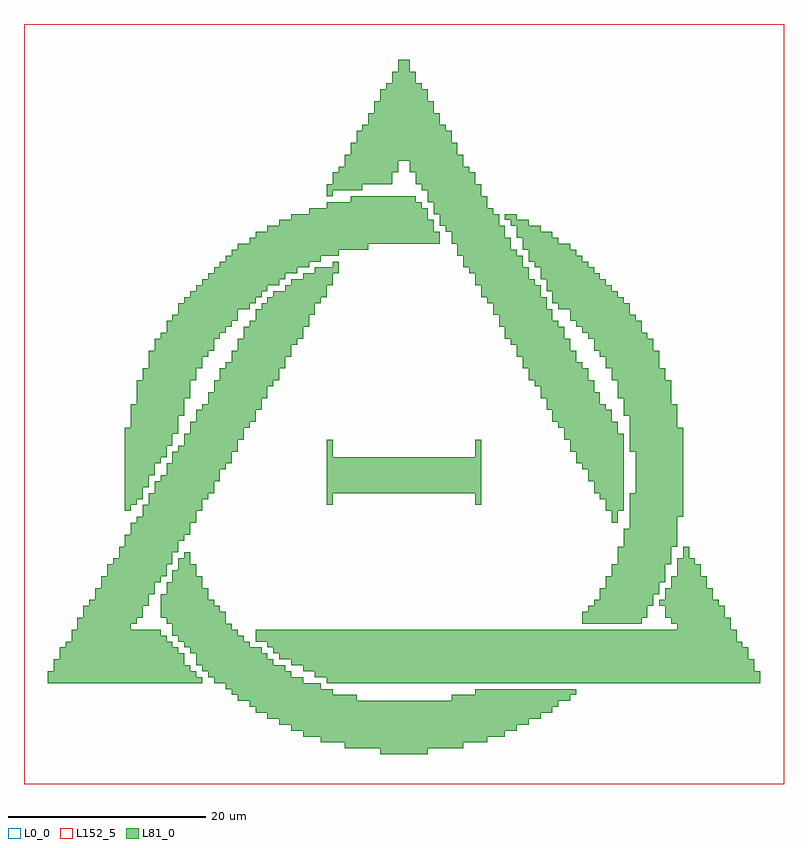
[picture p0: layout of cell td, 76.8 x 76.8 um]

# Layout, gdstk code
import gdstk
lib = gdstk.Library(unit=1e-6, precision=1e-09)
def R(c, l, rs):  # rectangles x0, y0, x1, y1
    for r in rs: c.add(gdstk.rectangle(r[:2], r[2:], *l))
def A(c, l, x, y, w, h, nx, ny, dx, dy):  # array of equal rectangles
    R(c, l, [(x+i*dx, y+j*dy, x+i*dx+w, y+j*dy+h) for i in range(nx) for j in range(ny)])
L0_0 = (0, 0)
L81_0 = (81, 0)
L152_5 = (152, 5)

c_td = lib.new_cell('td')
R(c_td, L0_0, [(0,0,76.8,76.8)])
A(c_td, L81_0, 36, 3, 0.6, 0.6, 8, 2, 0.6, 66)
A(c_td, L81_0, 32.4, 3.6, 0.6, 0.6, 20, 2, 0.6, 59.4)
A(c_td, L81_0, 30, 4.2, 0.6, 0.6, 28, 1, 0.6, 0)
A(c_td, L81_0, 28.2, 4.8, 0.6, 0.6, 34, 1, 0.6, 0)
A(c_td, L81_0, 27, 5.4, 0.6, 0.6, 38, 1, 0.6, 0)
A(c_td, L81_0, 25.8, 6, 0.6, 0.6, 42, 1, 0.6, 0)
A(c_td, L81_0, 24.6, 6.6, 0.6, 0.6, 46, 1, 0.6, 0)
A(c_td, L81_0, 23.4, 7.2, 0.6, 0.6, 50, 1, 0.6, 0)
A(c_td, L81_0, 22.8, 7.8, 0.6, 0.6, 52, 1, 0.6, 0)
A(c_td, L81_0, 21.6, 8.4, 0.6, 0.6, 20, 1, 0.6, 0)
A(c_td, L81_0, 43.2, 8.4, 0.6, 0.6, 20, 1, 0.6, 0)
A(c_td, L81_0, 21, 9, 0.6, 0.6, 17, 1, 0.6, 0)
A(c_td, L81_0, 45.6, 9, 0.6, 0.6, 17, 1, 0.6, 0)
A(c_td, L81_0, 20.4, 9.6, 0.6, 0.6, 16, 2, 0.6, 43.2)
A(c_td, L81_0, 2.4, 10.2, 0.6, 0.6, 26, 1, 0.6, 0)
A(c_td, L81_0, 19.2, 10.2, 0.6, 0.6, 15, 1, 0.6, 0)
A(c_td, L81_0, 30.6, 10.2, 0.6, 0.6, 73, 1, 0.6, 0)
A(c_td, L81_0, 2.4, 10.8, 0.6, 0.6, 25, 1, 0.6, 0)
A(c_td, L81_0, 18.6, 10.8, 0.6, 0.6, 14, 1, 0.6, 0)
A(c_td, L81_0, 29.4, 10.8, 0.6, 0.6, 75, 1, 0.6, 0)
A(c_td, L81_0, 3, 11.4, 0.6, 0.6, 23, 1, 0.6, 0)
A(c_td, L81_0, 18, 11.4, 0.6, 0.6, 14, 1, 0.6, 0)
A(c_td, L81_0, 28.2, 11.4, 0.6, 0.6, 76, 1, 0.6, 0)
A(c_td, L81_0, 3, 12, 0.6, 0.6, 22, 1, 0.6, 0)
A(c_td, L81_0, 17.4, 12, 0.6, 0.6, 13, 1, 0.6, 0)
A(c_td, L81_0, 27, 12, 0.6, 0.6, 78, 1, 0.6, 0)
A(c_td, L81_0, 3.6, 12.6, 0.6, 0.6, 21, 1, 0.6, 0)
A(c_td, L81_0, 17.4, 12.6, 0.6, 0.6, 12, 2, 0.6, 37.2)
A(c_td, L81_0, 25.8, 12.6, 0.6, 0.6, 79, 1, 0.6, 0)
A(c_td, L81_0, 3.6, 13.2, 0.6, 0.6, 20, 1, 0.6, 0)
A(c_td, L81_0, 16.8, 13.2, 0.6, 0.6, 12, 2, 0.6, 36)
A(c_td, L81_0, 25.2, 13.2, 0.6, 0.6, 80, 1, 0.6, 0)
A(c_td, L81_0, 4.2, 13.8, 0.6, 0.6, 18, 1, 0.6, 0)
A(c_td, L81_0, 16.2, 13.8, 0.6, 0.6, 11, 1, 0.6, 0)
A(c_td, L81_0, 24.6, 13.8, 0.6, 0.6, 80, 1, 0.6, 0)
A(c_td, L81_0, 4.8, 14.4, 0.6, 0.6, 16, 1, 0.6, 0)
A(c_td, L81_0, 15.6, 14.4, 0.6, 0.6, 11, 1, 0.6, 0)
A(c_td, L81_0, 23.4, 14.4, 0.6, 0.6, 81, 2, 0.6, 0.6)
A(c_td, L81_0, 4.8, 15, 0.6, 0.6, 15, 1, 0.6, 0)
A(c_td, L81_0, 15, 15, 0.6, 0.6, 11, 2, 0.6, 31.8)
A(c_td, L81_0, 5.4, 15.6, 0.6, 0.6, 9, 1, 0.6, 0)
A(c_td, L81_0, 15, 15.6, 0.6, 0.6, 10, 2, 0.6, 16.8)
A(c_td, L81_0, 66, 15.6, 0.6, 0.6, 9, 1, 0.6, 0)
A(c_td, L81_0, 5.4, 16.2, 0.6, 0.6, 10, 1, 0.6, 0)
A(c_td, L81_0, 14.4, 16.2, 0.6, 0.6, 10, 2, 0.6, 15.6)
A(c_td, L81_0, 56.4, 16.2, 0.6, 0.6, 10, 2, 0.6, 29.4)
A(c_td, L81_0, 65.4, 16.2, 0.6, 0.6, 10, 1, 0.6, 0)
A(c_td, L81_0, 6, 16.8, 0.6, 0.6, 10, 2, 0.6, 0.6)
A(c_td, L81_0, 13.8, 16.8, 0.6, 0.6, 11, 1, 0.6, 0)
A(c_td, L81_0, 56.4, 16.8, 0.6, 0.6, 11, 1, 0.6, 0)
A(c_td, L81_0, 64.8, 16.8, 0.6, 0.6, 10, 2, 0.6, 0.6)
A(c_td, L81_0, 13.8, 17.4, 0.6, 0.6, 10, 2, 0.6, 13.2)
A(c_td, L81_0, 57, 17.4, 0.6, 0.6, 10, 2, 0.6, 27.6)
A(c_td, L81_0, 6.6, 18, 0.6, 0.6, 10, 1, 0.6, 0)
A(c_td, L81_0, 13.8, 18, 0.6, 0.6, 9, 1, 0.6, 0)
A(c_td, L81_0, 57.6, 18, 0.6, 0.6, 10, 2, 0.6, 25.8)
A(c_td, L81_0, 64.2, 18, 0.6, 0.6, 10, 1, 0.6, 0)
A(c_td, L81_0, 7.2, 18.6, 0.6, 0.6, 9, 1, 0.6, 0)
A(c_td, L81_0, 13.8, 18.6, 0.6, 0.6, 8, 1, 0.6, 0)
A(c_td, L81_0, 58.2, 18.6, 0.6, 0.6, 9, 1, 0.6, 0)
A(c_td, L81_0, 64.8, 18.6, 0.6, 0.6, 8, 2, 0.6, 0.6)
A(c_td, L81_0, 7.2, 19.2, 0.6, 0.6, 10, 1, 0.6, 0)
A(c_td, L81_0, 14.4, 19.2, 0.6, 0.6, 7, 1, 0.6, 0)
A(c_td, L81_0, 58.2, 19.2, 0.6, 0.6, 10, 2, 0.6, 24)
A(c_td, L81_0, 7.8, 19.8, 0.6, 0.6, 9, 1, 0.6, 0)
A(c_td, L81_0, 14.4, 19.8, 0.6, 0.6, 6, 1, 0.6, 0)
A(c_td, L81_0, 58.8, 19.8, 0.6, 0.6, 9, 2, 0.6, 22.2)
A(c_td, L81_0, 65.4, 19.8, 0.6, 0.6, 6, 2, 0.6, 0.6)
A(c_td, L81_0, 7.8, 20.4, 0.6, 0.6, 10, 1, 0.6, 0)
A(c_td, L81_0, 15, 20.4, 0.6, 0.6, 5, 1, 0.6, 0)
A(c_td, L81_0, 58.8, 20.4, 0.6, 0.6, 10, 1, 0.6, 0)
A(c_td, L81_0, 8.4, 21, 0.6, 0.6, 10, 2, 0.6, 0.6)
A(c_td, L81_0, 15, 21, 0.6, 0.6, 4, 1, 0.6, 0)
A(c_td, L81_0, 59.4, 21, 0.6, 0.6, 9, 2, 0.6, 0.6)
A(c_td, L81_0, 66, 21, 0.6, 0.6, 4, 2, 0.6, 0.6)
A(c_td, L81_0, 15.6, 21.6, 0.6, 0.6, 3, 1, 0.6, 0)
A(c_td, L81_0, 9, 22.2, 0.6, 0.6, 10, 1, 0.6, 0)
A(c_td, L81_0, 60, 22.2, 0.6, 0.6, 9, 3, 0.6, 0.6)
A(c_td, L81_0, 66, 22.2, 0.6, 0.6, 3, 1, 0.6, 0)
A(c_td, L81_0, 9.6, 22.8, 0.6, 0.6, 9, 1, 0.6, 0)
A(c_td, L81_0, 9.6, 23.4, 0.6, 0.6, 10, 1, 0.6, 0)
A(c_td, L81_0, 10.2, 24, 0.6, 0.6, 9, 2, 0.6, 11.4)
A(c_td, L81_0, 60.6, 24, 0.6, 0.6, 9, 3, 0.6, 0.6)
A(c_td, L81_0, 10.2, 24.6, 0.6, 0.6, 10, 1, 0.6, 0)
A(c_td, L81_0, 10.8, 25.2, 0.6, 0.6, 10, 2, 0.6, 0.6)
A(c_td, L81_0, 61.2, 25.8, 0.6, 0.6, 8, 2, 0.6, 0.6)
A(c_td, L81_0, 11.4, 26.4, 0.6, 0.6, 10, 1, 0.6, 0)
A(c_td, L81_0, 12, 27, 0.6, 0.6, 9, 2, 0.6, 13.8)
A(c_td, L81_0, 61.2, 27, 0.6, 0.6, 9, 4, 0.6, 0.6)
A(c_td, L81_0, 12, 27.6, 0.6, 0.6, 10, 1, 0.6, 0)
A(c_td, L81_0, 58.8, 27.6, 0.6, 0.6, 3, 2, 0.6, 0.6)
A(c_td, L81_0, 12.6, 28.2, 0.6, 0.6, 9, 2, 0.6, 13.8)
A(c_td, L81_0, 10.2, 28.8, 0.6, 0.6, 3, 2, 0.6, 0.6)
A(c_td, L81_0, 12.6, 28.8, 0.6, 0.6, 10, 2, 0.6, 14.4)
A(c_td, L81_0, 58.2, 28.8, 0.6, 0.6, 4, 1, 0.6, 0)
A(c_td, L81_0, 13.2, 29.4, 0.6, 0.6, 10, 2, 0.6, 0.6)
A(c_td, L81_0, 30.6, 29.4, 0.6, 0.6, 26, 6, 0.6, 0.6)
A(c_td, L81_0, 57.6, 29.4, 0.6, 0.6, 5, 2, 0.6, 0.6)
A(c_td, L81_0, 61.8, 29.4, 0.6, 0.6, 8, 7, 0.6, 0.6)
A(c_td, L81_0, 10.2, 30, 0.6, 0.6, 4, 2, 0.6, 0.6)
A(c_td, L81_0, 57, 30.6, 0.6, 0.6, 6, 2, 0.6, 0.6)
A(c_td, L81_0, 10.2, 31.2, 0.6, 0.6, 5, 2, 0.6, 0.6)
A(c_td, L81_0, 14.4, 31.2, 0.6, 0.6, 9, 1, 0.6, 0)
A(c_td, L81_0, 56.4, 31.8, 0.6, 0.6, 7, 1, 0.6, 0)
A(c_td, L81_0, 10.2, 32.4, 0.6, 0.6, 6, 1, 0.6, 0)
A(c_td, L81_0, 55.8, 32.4, 0.6, 0.6, 8, 2, 0.6, 0.6)
A(c_td, L81_0, 10.2, 33, 0.6, 0.6, 7, 2, 0.6, 0.6)
A(c_td, L81_0, 15, 33, 0.6, 0.6, 10, 1, 0.6, 0)
A(c_td, L81_0, 30.6, 33, 0.6, 0.6, 1, 3, 0, 0.6)
A(c_td, L81_0, 45.6, 33, 0.6, 0.6, 1, 3, 0, 0.6)
A(c_td, L81_0, 15.6, 33.6, 0.6, 0.6, 10, 2, 0.6, 13.8)
A(c_td, L81_0, 55.2, 33.6, 0.6, 0.6, 9, 2, 0.6, 0.6)
A(c_td, L81_0, 61.2, 33.6, 0.6, 0.6, 9, 4, 0.6, 0.6)
A(c_td, L81_0, 10.2, 34.2, 0.6, 0.6, 8, 2, 0.6, 0.6)
A(c_td, L81_0, 16.2, 34.2, 0.6, 0.6, 9, 1, 0.6, 0)
A(c_td, L81_0, 16.2, 34.8, 0.6, 0.6, 10, 1, 0.6, 0)
A(c_td, L81_0, 54.6, 34.8, 0.6, 0.6, 10, 1, 0.6, 0)
A(c_td, L81_0, 16.8, 35.4, 0.6, 0.6, 9, 1, 0.6, 0)
A(c_td, L81_0, 54.6, 35.4, 0.6, 0.6, 9, 1, 0.6, 0)
A(c_td, L81_0, 10.8, 36, 0.6, 0.6, 8, 2, 0.6, 0.6)
A(c_td, L81_0, 16.8, 36, 0.6, 0.6, 10, 1, 0.6, 0)
A(c_td, L81_0, 54, 36, 0.6, 0.6, 10, 1, 0.6, 0)
A(c_td, L81_0, 61.2, 36, 0.6, 0.6, 8, 2, 0.6, 0.6)
A(c_td, L81_0, 17.4, 36.6, 0.6, 0.6, 10, 2, 0.6, 0.6)
A(c_td, L81_0, 53.4, 36.6, 0.6, 0.6, 10, 2, 0.6, 0.6)
A(c_td, L81_0, 10.8, 37.2, 0.6, 0.6, 9, 2, 0.6, 0.6)
A(c_td, L81_0, 60.6, 37.2, 0.6, 0.6, 9, 2, 0.6, 0.6)
A(c_td, L81_0, 18, 37.8, 0.6, 0.6, 10, 1, 0.6, 0)
A(c_td, L81_0, 52.8, 37.8, 0.6, 0.6, 10, 2, 0.6, 12.6)
A(c_td, L81_0, 11.4, 38.4, 0.6, 0.6, 8, 1, 0.6, 0)
A(c_td, L81_0, 18.6, 38.4, 0.6, 0.6, 9, 1, 0.6, 0)
A(c_td, L81_0, 52.8, 38.4, 0.6, 0.6, 9, 1, 0.6, 0)
A(c_td, L81_0, 60.6, 38.4, 0.6, 0.6, 8, 1, 0.6, 0)
A(c_td, L81_0, 11.4, 39, 0.6, 0.6, 9, 3, 0.6, 0.6)
A(c_td, L81_0, 18.6, 39, 0.6, 0.6, 10, 1, 0.6, 0)
A(c_td, L81_0, 52.2, 39, 0.6, 0.6, 10, 2, 0.6, 12)
A(c_td, L81_0, 60, 39, 0.6, 0.6, 9, 3, 0.6, 0.6)
A(c_td, L81_0, 19.2, 39.6, 0.6, 0.6, 9, 1, 0.6, 0)
A(c_td, L81_0, 52.2, 39.6, 0.6, 0.6, 9, 2, 0.6, 12)
A(c_td, L81_0, 19.2, 40.2, 0.6, 0.6, 10, 1, 0.6, 0)
A(c_td, L81_0, 51.6, 40.2, 0.6, 0.6, 10, 1, 0.6, 0)
A(c_td, L81_0, 19.8, 40.8, 0.6, 0.6, 10, 2, 0.6, 0.6)
A(c_td, L81_0, 51, 40.8, 0.6, 0.6, 10, 2, 0.6, 0.6)
A(c_td, L81_0, 59.4, 40.8, 0.6, 0.6, 9, 2, 0.6, 0.6)
A(c_td, L81_0, 12, 41.4, 0.6, 0.6, 9, 1, 0.6, 0)
A(c_td, L81_0, 20.4, 42, 0.6, 0.6, 10, 1, 0.6, 0)
A(c_td, L81_0, 50.4, 42, 0.6, 0.6, 10, 1, 0.6, 0)
A(c_td, L81_0, 12.6, 42.6, 0.6, 0.6, 9, 1, 0.6, 0)
A(c_td, L81_0, 21, 42.6, 0.6, 0.6, 9, 1, 0.6, 0)
A(c_td, L81_0, 50.4, 42.6, 0.6, 0.6, 9, 1, 0.6, 0)
A(c_td, L81_0, 58.8, 42.6, 0.6, 0.6, 9, 1, 0.6, 0)
A(c_td, L81_0, 21, 43.2, 0.6, 0.6, 10, 1, 0.6, 0)
A(c_td, L81_0, 49.8, 43.2, 0.6, 0.6, 10, 1, 0.6, 0)
A(c_td, L81_0, 13.2, 43.8, 0.6, 0.6, 10, 2, 0.6, 0.6)
A(c_td, L81_0, 21.6, 43.8, 0.6, 0.6, 9, 1, 0.6, 0)
A(c_td, L81_0, 49.8, 43.8, 0.6, 0.6, 9, 1, 0.6, 0)
A(c_td, L81_0, 21.6, 44.4, 0.6, 0.6, 10, 1, 0.6, 0)
A(c_td, L81_0, 49.2, 44.4, 0.6, 0.6, 10, 1, 0.6, 0)
A(c_td, L81_0, 57.6, 44.4, 0.6, 0.6, 10, 1, 0.6, 0)
A(c_td, L81_0, 13.8, 45, 0.6, 0.6, 10, 1, 0.6, 0)
A(c_td, L81_0, 22.2, 45, 0.6, 0.6, 10, 2, 0.6, 0.6)
A(c_td, L81_0, 48.6, 45, 0.6, 0.6, 10, 2, 0.6, 0.6)
A(c_td, L81_0, 14.4, 45.6, 0.6, 0.6, 10, 1, 0.6, 0)
A(c_td, L81_0, 14.4, 46.2, 0.6, 0.6, 11, 1, 0.6, 0)
A(c_td, L81_0, 22.8, 46.2, 0.6, 0.6, 10, 1, 0.6, 0)
A(c_td, L81_0, 48, 46.2, 0.6, 0.6, 10, 1, 0.6, 0)
A(c_td, L81_0, 55.8, 46.2, 0.6, 0.6, 11, 1, 0.6, 0)
A(c_td, L81_0, 23.4, 46.8, 0.6, 0.6, 9, 1, 0.6, 0)
A(c_td, L81_0, 48, 46.8, 0.6, 0.6, 9, 1, 0.6, 0)
A(c_td, L81_0, 55.2, 46.8, 0.6, 0.6, 11, 1, 0.6, 0)
A(c_td, L81_0, 23.4, 47.4, 0.6, 0.6, 10, 1, 0.6, 0)
A(c_td, L81_0, 47.4, 47.4, 0.6, 0.6, 10, 1, 0.6, 0)
A(c_td, L81_0, 55.2, 47.4, 0.6, 0.6, 10, 1, 0.6, 0)
A(c_td, L81_0, 15.6, 48, 0.6, 0.6, 12, 1, 0.6, 0)
A(c_td, L81_0, 24, 48, 0.6, 0.6, 9, 1, 0.6, 0)
A(c_td, L81_0, 47.4, 48, 0.6, 0.6, 9, 1, 0.6, 0)
A(c_td, L81_0, 54, 48, 0.6, 0.6, 12, 1, 0.6, 0)
A(c_td, L81_0, 16.2, 48.6, 0.6, 0.6, 12, 1, 0.6, 0)
A(c_td, L81_0, 24.6, 48.6, 0.6, 0.6, 9, 1, 0.6, 0)
A(c_td, L81_0, 46.8, 48.6, 0.6, 0.6, 10, 1, 0.6, 0)
A(c_td, L81_0, 53.4, 48.6, 0.6, 0.6, 12, 1, 0.6, 0)
A(c_td, L81_0, 25.2, 49.2, 0.6, 0.6, 9, 1, 0.6, 0)
A(c_td, L81_0, 46.2, 49.2, 0.6, 0.6, 10, 2, 0.6, 0.6)
A(c_td, L81_0, 53.4, 49.2, 0.6, 0.6, 11, 1, 0.6, 0)
A(c_td, L81_0, 26.4, 49.8, 0.6, 0.6, 7, 1, 0.6, 0)
A(c_td, L81_0, 52.8, 49.8, 0.6, 0.6, 11, 1, 0.6, 0)
A(c_td, L81_0, 18, 50.4, 0.6, 0.6, 13, 1, 0.6, 0)
A(c_td, L81_0, 27, 50.4, 0.6, 0.6, 7, 1, 0.6, 0)
A(c_td, L81_0, 45.6, 50.4, 0.6, 0.6, 10, 1, 0.6, 0)
A(c_td, L81_0, 18.6, 51, 0.6, 0.6, 13, 1, 0.6, 0)
A(c_td, L81_0, 28.2, 51, 0.6, 0.6, 5, 1, 0.6, 0)
A(c_td, L81_0, 45.6, 51, 0.6, 0.6, 9, 1, 0.6, 0)
A(c_td, L81_0, 19.2, 51.6, 0.6, 0.6, 14, 1, 0.6, 0)
A(c_td, L81_0, 29.4, 51.6, 0.6, 0.6, 4, 1, 0.6, 0)
A(c_td, L81_0, 45, 51.6, 0.6, 0.6, 10, 1, 0.6, 0)
A(c_td, L81_0, 19.8, 52.2, 0.6, 0.6, 15, 1, 0.6, 0)
A(c_td, L81_0, 44.4, 52.2, 0.6, 0.6, 10, 2, 0.6, 0.6)
A(c_td, L81_0, 51.6, 52.2, 0.6, 0.6, 9, 1, 0.6, 0)
A(c_td, L81_0, 51, 52.8, 0.6, 0.6, 9, 1, 0.6, 0)
A(c_td, L81_0, 21, 53.4, 0.6, 0.6, 18, 1, 0.6, 0)
A(c_td, L81_0, 43.8, 53.4, 0.6, 0.6, 10, 1, 0.6, 0)
A(c_td, L81_0, 51, 53.4, 0.6, 0.6, 8, 1, 0.6, 0)
A(c_td, L81_0, 21.6, 54, 0.6, 0.6, 22, 1, 0.6, 0)
A(c_td, L81_0, 43.8, 54, 0.6, 0.6, 9, 1, 0.6, 0)
A(c_td, L81_0, 50.4, 54, 0.6, 0.6, 8, 1, 0.6, 0)
A(c_td, L81_0, 22.8, 54.6, 0.6, 0.6, 32, 1, 0.6, 0)
A(c_td, L81_0, 43.2, 54.6, 0.6, 0.6, 10, 1, 0.6, 0)
A(c_td, L81_0, 50.4, 54.6, 0.6, 0.6, 6, 1, 0.6, 0)
A(c_td, L81_0, 23.4, 55.2, 0.6, 0.6, 31, 1, 0.6, 0)
A(c_td, L81_0, 43.2, 55.2, 0.6, 0.6, 9, 1, 0.6, 0)
A(c_td, L81_0, 49.8, 55.2, 0.6, 0.6, 6, 1, 0.6, 0)
A(c_td, L81_0, 24.6, 55.8, 0.6, 0.6, 28, 1, 0.6, 0)
A(c_td, L81_0, 42.6, 55.8, 0.6, 0.6, 10, 1, 0.6, 0)
A(c_td, L81_0, 49.8, 55.8, 0.6, 0.6, 4, 1, 0.6, 0)
A(c_td, L81_0, 25.8, 56.4, 0.6, 0.6, 26, 1, 0.6, 0)
A(c_td, L81_0, 42, 56.4, 0.6, 0.6, 10, 2, 0.6, 0.6)
A(c_td, L81_0, 49.2, 56.4, 0.6, 0.6, 3, 1, 0.6, 0)
A(c_td, L81_0, 27, 57, 0.6, 0.6, 23, 1, 0.6, 0)
A(c_td, L81_0, 28.8, 57.6, 0.6, 0.6, 20, 1, 0.6, 0)
A(c_td, L81_0, 41.4, 57.6, 0.6, 0.6, 10, 1, 0.6, 0)
A(c_td, L81_0, 30.6, 58.2, 0.6, 0.6, 16, 1, 0.6, 0)
A(c_td, L81_0, 41.4, 58.2, 0.6, 0.6, 9, 1, 0.6, 0)
A(c_td, L81_0, 33, 58.8, 0.6, 0.6, 11, 1, 0.6, 0)
A(c_td, L81_0, 40.8, 58.8, 0.6, 0.6, 10, 1, 0.6, 0)
A(c_td, L81_0, 40.8, 59.4, 0.6, 0.6, 9, 1, 0.6, 0)
A(c_td, L81_0, 30.6, 60, 0.6, 0.6, 6, 1, 0.6, 0)
A(c_td, L81_0, 40.2, 60, 0.6, 0.6, 10, 1, 0.6, 0)
A(c_td, L81_0, 31.2, 60.6, 0.6, 0.6, 10, 2, 0.6, 0.6)
A(c_td, L81_0, 39.6, 60.6, 0.6, 0.6, 10, 2, 0.6, 0.6)
A(c_td, L81_0, 31.8, 61.8, 0.6, 0.6, 10, 1, 0.6, 0)
A(c_td, L81_0, 39, 61.8, 0.6, 0.6, 10, 1, 0.6, 0)
A(c_td, L81_0, 32.4, 62.4, 0.6, 0.6, 9, 1, 0.6, 0)
A(c_td, L81_0, 39, 62.4, 0.6, 0.6, 9, 1, 0.6, 0)
A(c_td, L81_0, 33, 63.6, 0.6, 0.6, 18, 2, 0.6, 0.6)
A(c_td, L81_0, 33.6, 64.8, 0.6, 0.6, 16, 2, 0.6, 0.6)
A(c_td, L81_0, 34.2, 66, 0.6, 0.6, 14, 1, 0.6, 0)
A(c_td, L81_0, 34.8, 66.6, 0.6, 0.6, 12, 2, 0.6, 0.6)
A(c_td, L81_0, 35.4, 67.8, 0.6, 0.6, 10, 2, 0.6, 0.6)
A(c_td, L81_0, 36, 69.6, 0.6, 0.6, 8, 1, 0.6, 0)
A(c_td, L81_0, 36.6, 70.2, 0.6, 0.6, 6, 1, 0.6, 0)
A(c_td, L81_0, 37.2, 70.8, 0.6, 0.6, 4, 2, 0.6, 0.6)
R(c_td, L81_0, [(15.6,22.2,16.2,22.8), (16.2,22.2,16.8,22.8), (16.2,22.8,16.8,23.4), (66.6,22.8,67.2,23.4), (66.6,23.4,67.2,24), (59.4,26.4,60,27), (59.4,27,60,27.6), (10.2,27.6,10.8,28.2), (10.2,28.2,10.8,28.8), (10.8,28.2,11.4,28.8), (30.6,28.2,31.2,28.8), (45.6,28.2,46.2,28.8), (30.6,28.8,31.2,29.4), (45.6,28.8,46.2,29.4), (31.2,52.2,31.8,52.8), (48.6,57,49.2,57.6), (49.2,57,49.8,57.6), (30.6,59.4,31.2,60), (37.8,72,38.4,72.6), (38.4,72,39,72.6), (37.8,72.6,38.4,73.2), (38.4,72.6,39,73.2)])
R(c_td, L152_5, [(0,0,76.8,76.8)])

lib.write_gds('td.gds')
